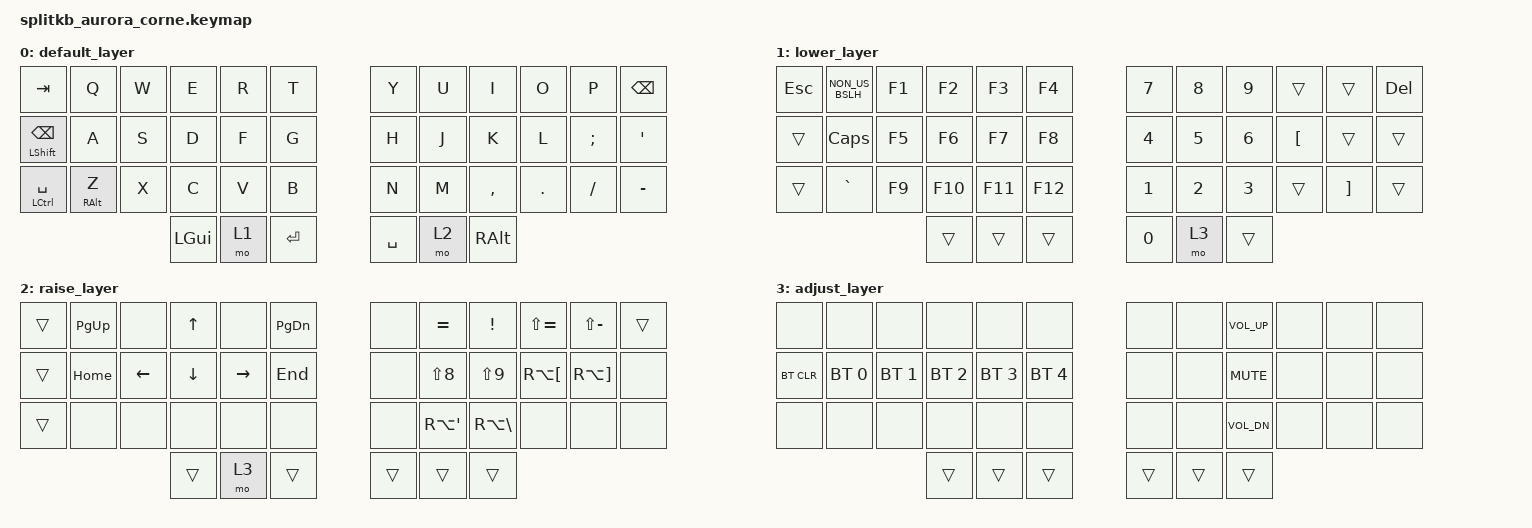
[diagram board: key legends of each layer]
/*
 * Copyright (c) 2020 The ZMK Contributors
 *
 * SPDX-License-Identifier: MIT
 */

#include <behaviors.dtsi>
#include <dt-bindings/zmk/keys.h>
#include <dt-bindings/zmk/bt.h>

/ {

        keymap {
                compatible = "zmk,keymap";

                default_layer {
// Querty
// ,------------------------------------------     ------------------------------------------.
// |  TAB |  Q   |  W   |  E   |   R  |  T   |     |  Y   |  U   |  I   |  O   |  P   | Bksp | 
// |------+------+------+------+------+------+     |------+------+------+------+------+------|
// |Sft() |  A   |  S   |  D   |   F  |  G   |     |  H   |  J   |  K   |  L   |  Ñ   |  ´   |
// |------+------+------+------+------+------+     |------+------+------+------+------+------|
// |Crtl()|Alt(Z)|  X   |  C   |  V   |  B   |     |  N   |  M   |  ,   |  .   |  -   |  '   |
// |------+------+------+------+------+------+     |------+------+------+------+------+------|
//                      | LGUI | Mo1  |Enter |     |Space | Mo2  | RAlt |
//                      '-----------------------------------------------'
//
                        bindings = <
   &kp TAB         &kp Q      &kp W &kp E &kp R &kp T   &kp Y &kp U  &kp I     &kp O   &kp P    &kp BSPC
   &mt LSHFT BSPC  &kp A      &kp S &kp D &kp F &kp G   &kp H &kp J  &kp K     &kp L   &kp SEMI &kp SQT
   &mt LCTRL SPACE &mt RALT Z &kp X &kp C &kp V &kp B   &kp N &kp M  &kp COMMA &kp DOT &kp FSLH &kp MINUS
                              &kp LGUI &mo 1 &kp RET     &kp SPACE &mo 2 &kp RALT
                        >;
                };

                lower_layer {
// Lower
// ,------------------------------------------     ------------------------------------------.
// |  Esc |  º   |  F1  |  F2  |  F3  |  F4  |     |  7   |  8   |  9   |      |      |  DEL | 
// |------+------+------+------+------+------+     |------+------+------+------+------+------|
// |      | CAPS |  F5  |  F6  |  F7  |  F8  |     |  4   |  5   |  6   |  `   |      |      |
// |------+------+------+------+------+------+     |------+------+------+------+------+------|
// |      |  <   |  F9  |  F10 |  F11 |  F12 |     |  1   |  2   |  3   |      |  +   |      |
// |------+------+------+------+------+------+     |------+------+------+------+------+------|
//                      |      |      |      |     |  0   | Mo3  |      |
//                      '-----------------------------------------------'
//
                        bindings = <
   &kp ESC &kp NON_US_BSLH &kp F1 &kp F2  &kp F3  &kp F4         &kp N7 &kp N8 &kp N9 &trans   &trans      &kp DEL
   &trans  &kp CAPS        &kp F5 &kp F6  &kp F7  &kp F8         &kp N4 &kp N5 &kp N6 &kp LBKT &trans      &trans
   &trans  &kp GRAVE       &kp F9 &kp F10 &kp F11 &kp F12        &kp N1 &kp N2 &kp N3 &trans   &kp RBKT &trans
                                  &trans  &trans  &trans         &kp N0 &mo 3 &trans
                        >;
                };

                raise_layer {
// Raise
// ,------------------------------------------     ------------------------------------------.
// |      | P.Up |   -  |  Up  |   -  | P.Do |     |  -   |   ¡  |  !   |  ¿   |  ?   |      | 
// |------+------+------+------+------+------+     |------+------+------+------+------+------|
// |      | Home | Left | Down | Right| End  |     |  -   |  (   |   )  |  [   |   ]  |  -   |
// |------+------+------+------+------+------+     |------+------+------+------+------+------|
// |      |  -   |  -   |  -   |  -   |  -   |     |  -   |  {   |   }  |  -   |  -   |  -   |
// |------+------+------+------+------+------+     |------+------+------+------+------+------|
//                      |      | Mo3  |      |     |      |      |      |
//                      '-----------------------------------------------'
//
                        bindings = <
   &trans &kp PG_UP &none    &kp UP   &none     &kp PG_DN    &none &kp EQUAL   &kp EXCL     &kp LS(EQUAL) &kp LS(MINUS) &trans
   &trans &kp HOME  &kp LEFT &kp DOWN &kp RIGHT &kp END      &none &kp LS(N8)  &kp LS(N9)   &kp RA(LBKT)  &kp RA(RBKT)  &none
   &trans &none     &none    &none    &none     &none        &none &kp RA(SQT) &kp RA(BSLH) &none         &none         &none
                             &trans   &mo 3    &trans       &trans    &trans    &trans
                        >;
                };
                adjust_layer {
// Adjust
// ,------------------------------------------     ------------------------------------------.
// |  -   |  -   |  -   |  -   |  -   |  -   |     |  -   |  -   |  VOL+   |  -   |  -   |  -   |
// |------+------+------+------+------+------+     |------+------+------+------+------+------|
// |BT_CLR| BT0  | BT1  | BT2  | BT3  | BT4  |     |  -   |  -   |  MUTE   |  -   |  -   |  -   |
// |------+------+------+------+------+------+     |------+------+------+------+------+------|
// |  -   |  -   |  -   |  -   |  -   |  -   |     |  -   |  -   |  VOL-   |  -   |  -   |  -   |
// |------+------+------+------+------+------+     |------+------+------+------+------+------|
//                      |      |      |      |     |      |      |      |
//                      '-----------------------------------------------'
//

                        bindings = <
   &none      &none        &none        &none        &none        &none          &none      &none        &kp C_VOL_UP   &none        &none        &none
   &bt BT_CLR &bt BT_SEL 0 &bt BT_SEL 1 &bt BT_SEL 2 &bt BT_SEL 3 &bt BT_SEL 4   &none      &none        &kp C_MUTE     &none        &none        &none
   &none      &none        &none        &none        &none        &none          &none      &none        &kp C_VOL_DN   &none        &none        &none
                                        &trans       &trans       &trans         &trans    &trans    &trans
                        >;
                };
        };
};

    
